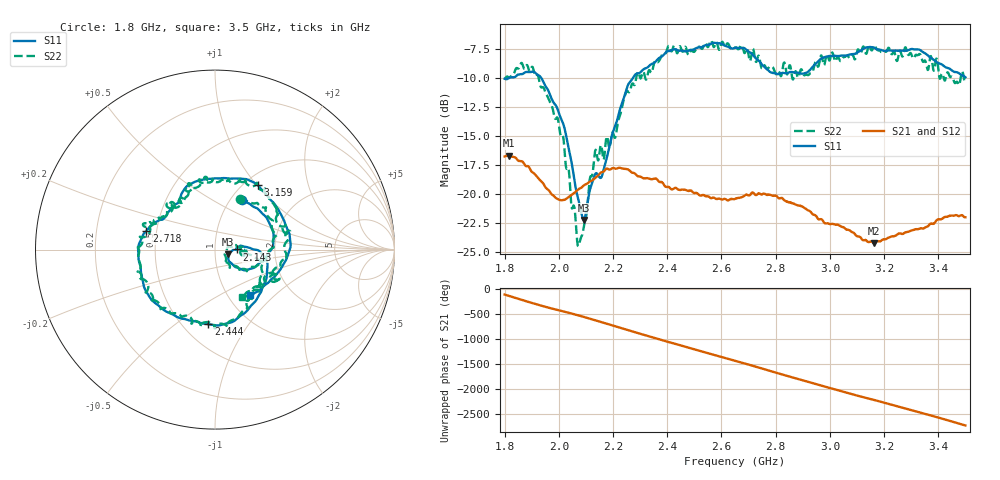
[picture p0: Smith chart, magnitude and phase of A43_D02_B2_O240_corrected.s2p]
! Created with skrf 1.9.0 (http://scikit-rf.org).
# Hz S RI R 50.0
!freq ReS11 ImS11 ReS21 ImS21 ReS12 ImS12 ReS22 ImS22
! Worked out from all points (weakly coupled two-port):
!   1601 points, 1.8 GHz to 3.5 GHz, reference 50 ohm
!   highest |S21| = -16.64 dB at 1.816 GHz (marker M1); lowest = -24.2 dB at 3.163 GHz (marker M2)
!   lowest |S11| = -22.2 dB at 2.092 GHz (marker M3), VSWR 1.17, Z = 57.8 - j3.1 ohm
!   |S11| at or under -10 dB: start of sweep to 1.813 GHz; 1.937 GHz to 2.272 GHz (335.8 MHz wide, 16 % of centre)
!   |S22| runs from -24.5 to -6.7 dB; largest |S21 - S12| = 0.0026
!   S11 on the Smith chart (normalised r, x): 1.8 GHz: 1.12, +0.69; 2.143 GHz: 1.28, +0.00; 2.444 GHz: 0.66, -0.66; 2.718 GHz: 0.44, +0.11; 3.159 GHz: 1.15, +1.01; 3.5 GHz: 1.27, -0.71
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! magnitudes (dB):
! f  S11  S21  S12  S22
! 1.8 GHz  -10.0  -16.7  -16.7  -10.0
! 1.816 GHz  -10.0  -16.6  -16.6  -9.9
! 1.902 GHz  -9.4  -18.1  -18.0  -9.0
! 1.966 GHz  -11.3  -19.7  -19.8  -12.0
! 2.02 GHz  -14.2  -20.5  -20.5  -15.9
! 2.07 GHz  -20.2  -19.6  -19.6  -24.4
! 2.084 GHz  -21.6  -19.4  -19.4  -23.6
! 2.092 GHz  -22.2  -19.2  -19.3  -22.8
! 2.128 GHz  -18.6  -18.7  -18.7  -17.4
! 2.143 GHz  -18.3  -18.4  -18.4  -17.0
! 2.209 GHz  -14.0  -17.8  -17.7  -15.0
! 2.258 GHz  -10.4  -17.9  -17.9  -11.2
! 2.367 GHz  -8.3  -18.8  -18.8  -8.6
! 2.444 GHz  -7.6  -19.6  -19.6  -7.3
! 2.65 GHz  -7.4  -20.4  -20.4  -7.3
! 2.718 GHz  -8.0  -19.9  -19.8  -7.5
! 2.802 GHz  -9.6  -20.1  -20.1  -9.6
! 2.934 GHz  -9.1  -21.6  -21.6  -9.5
! 3.159 GHz  -7.3  -24.1  -24.1  -7.4
! 3.163 GHz  -7.3  -24.2  -24.1  -7.1
! 3.217 GHz  -7.6  -23.7  -23.7  -7.4
! 3.5 GHz  -9.9  -22.0  -22.0  -10.3
